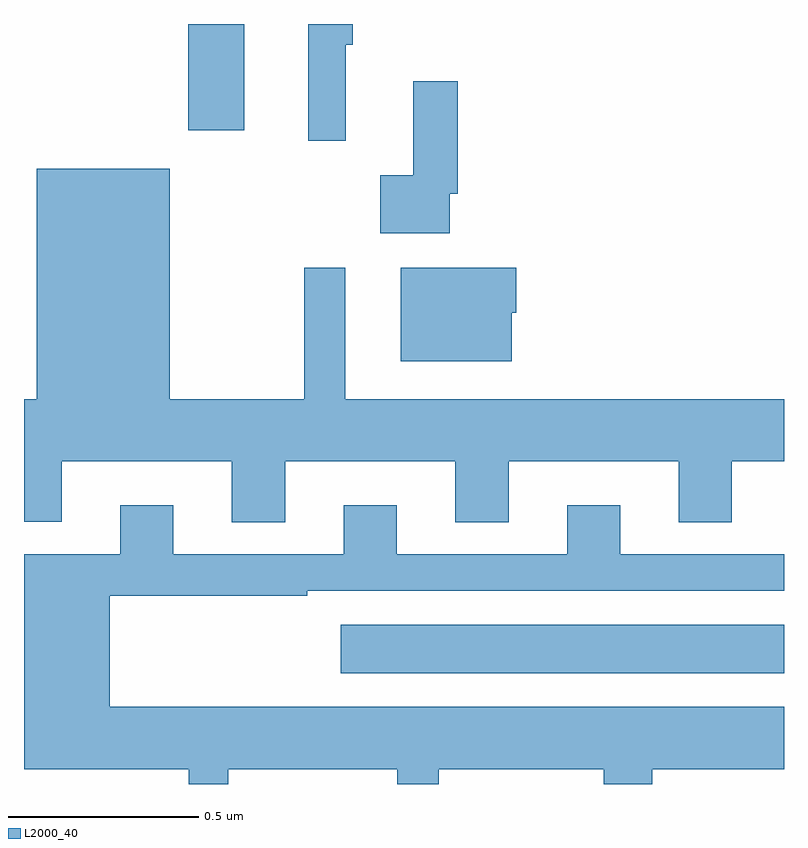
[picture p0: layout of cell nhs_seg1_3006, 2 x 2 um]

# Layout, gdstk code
import gdstk
lib = gdstk.Library(unit=1e-6, precision=1e-09)
def R(c, l, rs):  # rectangles x0, y0, x1, y1
    for r in rs: c.add(gdstk.rectangle(r[:2], r[2:], *l))
def P(c, l, *ps):  # polygons
    for p in ps: c.add(gdstk.Polygon(p, *l))
L2000_40 = (2000, 40)

nhs_seg1_3006 = lib.new_cell('nhs_seg1_3006')
R(nhs_seg1_3006, L2000_40, [(148.833,568.49,150,568.618), (148.432,569.919,148.579,570.199)])
P(nhs_seg1_3006, L2000_40, [(148.847,570.144),(148.865,570.144),(148.865,570.199),(148.748,570.199),(148.748,569.892),(148.847,569.892)],
  [(149.121,569.752),(149.141,569.752),(149.141,570.049),(149.024,570.049),(149.024,569.801),(148.938,569.801),(148.938,569.648),(149.121,569.648)],
  [(148.687,569.048),(149.135,569.048),(149.135,568.888),(149.275,568.888),(149.275,569.048),(149.723,569.048),(149.723,568.888),(149.863,568.888),(149.863,569.048),(150,569.048),(150,569.212),(148.846,569.212),(148.846,569.557),(148.737,569.557),(148.737,569.212),(148.384,569.212),(148.384,569.818),(148.034,569.818),(148.034,569.212),(148,569.212),(148,568.889),(148.099,568.889),(148.099,569.048),(148.547,569.048),(148.547,568.888),(148.687,568.888)],
  [(149.284,569.439),(149.296,569.439),(149.296,569.557),(148.991,569.557),(148.991,569.312),(149.284,569.312)],
  [(148.537,568.238),(148.982,568.238),(148.982,568.199),(149.092,568.199),(149.092,568.238),(149.525,568.238),(149.525,568.199),(149.653,568.199),(149.653,568.238),(150,568.238),(150,568.402),(148.225,568.402),(148.225,568.695),(148.745,568.695),(148.745,568.707),(150,568.707),(150,568.803),(149.569,568.803),(149.569,568.933),(149.429,568.933),(149.429,568.803),(148.981,568.803),(148.981,568.933),(148.841,568.933),(148.841,568.803),(148.393,568.803),(148.393,568.933),(148.253,568.933),(148.253,568.804),(148,568.804),(148,568.238),(148.433,568.238),(148.433,568.199),(148.537,568.199)])

lib.write_gds('nhs_seg1_3006.gds')
